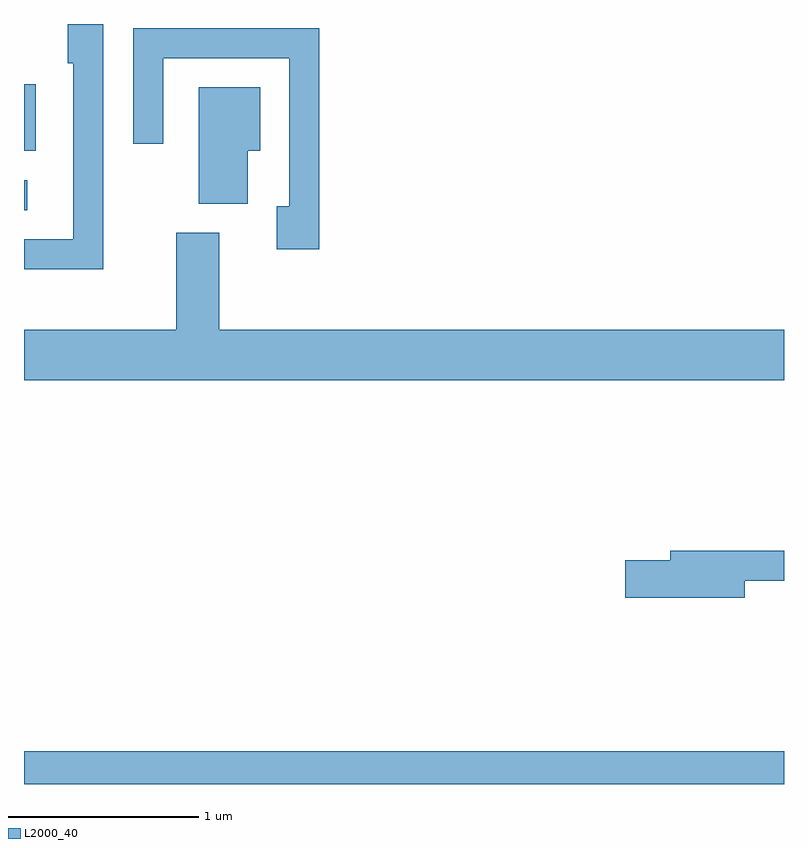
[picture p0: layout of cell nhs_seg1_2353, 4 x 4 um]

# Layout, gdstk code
import gdstk
lib = gdstk.Library(unit=1e-6, precision=1e-09)
def R(c, l, rs):  # rectangles x0, y0, x1, y1
    for r in rs: c.add(gdstk.rectangle(r[:2], r[2:], *l))
def P(c, l, *ps):  # polygons
    for p in ps: c.add(gdstk.Polygon(p, *l))
L2000_40 = (2000, 40)

nhs_seg1_2353 = lib.new_cell('nhs_seg1_2353')
R(nhs_seg1_2353, L2000_40, [(257.611,859.712,261.611,859.884), (257.611,862.731,257.628,862.889), (257.611,863.046,257.674,863.394)])
P(nhs_seg1_2353, L2000_40, [(258.029,863.712),(257.841,863.712),(257.841,863.506),(257.871,863.506),(257.871,862.579),(257.611,862.579),(257.611,862.421),(258.029,862.421)],
  [(259.164,863.689),(258.186,863.689),(258.186,863.083),(258.344,863.083),(258.344,863.531),(259.006,863.531),(259.006,862.754),(258.941,862.754),(258.941,862.526),(259.164,862.526)],
  [(258.789,863.046),(258.854,863.046),(258.854,863.379),(258.531,863.379),(258.531,862.766),(258.789,862.766)],
  [(261.611,862.104),(258.639,862.104),(258.639,862.614),(258.411,862.614),(258.411,862.104),(257.611,862.104),(257.611,861.836),(261.611,861.836)],
  [(261.404,860.781),(261.611,860.781),(261.611,860.939),(261.011,860.939),(261.011,860.889),(260.776,860.889),(260.776,860.691),(261.404,860.691)])

lib.write_gds('nhs_seg1_2353.gds')
